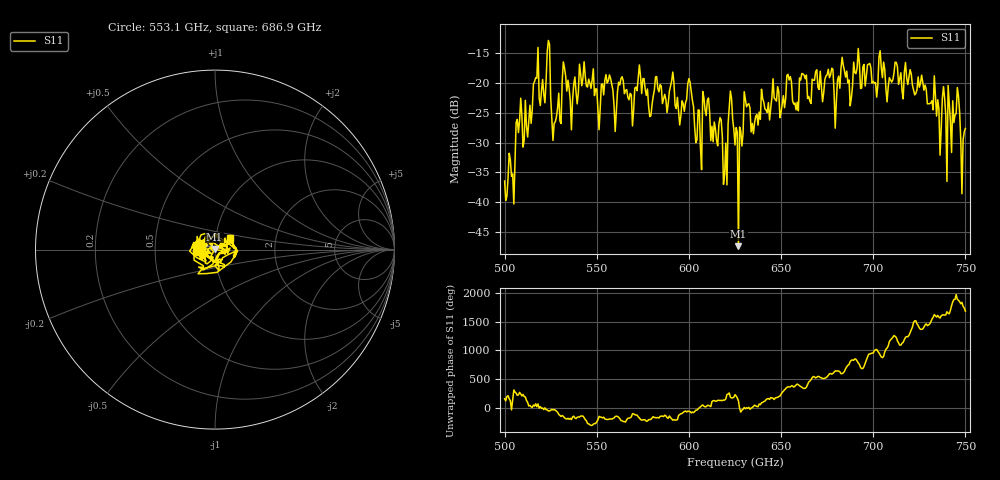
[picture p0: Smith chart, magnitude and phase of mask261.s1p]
!Created with skrf (http://scikit-rf.org).
# GHz S MA R 50.0
!freq magS11 angS11
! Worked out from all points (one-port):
!   401 points, 500 GHz to 750 GHz, reference 50 ohm
!   lowest |S11| = -47.4 dB at 626.9 GHz (marker M1), VSWR 1.01, Z = 49.8 + j0.37 ohm
!   |S11| at or under -10 dB: start of sweep to end of sweep
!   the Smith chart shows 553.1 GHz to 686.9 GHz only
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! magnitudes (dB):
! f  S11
! 500 GHz  -36.4
! 504.4 GHz  -35.3
! 507.5 GHz  -28.3
! 513.8 GHz  -23.7
! 516.9 GHz  -19.1
! 520.6 GHz  -19.4
! 523.8 GHz  -12.8
! 526.9 GHz  -26.8
! 531.2 GHz  -19.6
! 562.5 GHz  -20.3
! 579.4 GHz  -25.5
! 590.6 GHz  -19.7
! 593.8 GHz  -22.4
! 600.6 GHz  -19.9
! 605.6 GHz  -24.6
! 609.4 GHz  -25.5
! 619.4 GHz  -35.3
! 622.5 GHz  -21.3
! 625 GHz  -30.4
! 626.9 GHz  -47.4
! 631.2 GHz  -24.0
! 635 GHz  -28.5
! 656.2 GHz  -23.0
! 683.8 GHz  -17.0
! 687.5 GHz  -23.8
! 690.6 GHz  -18.4
! 718.8 GHz  -20.3
! 750 GHz  -27.6
